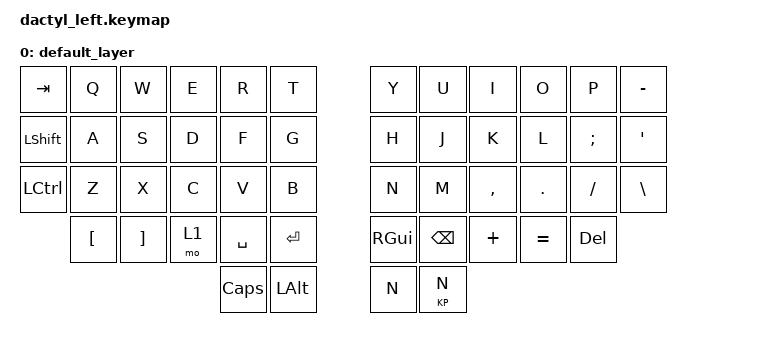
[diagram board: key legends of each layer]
#include <behaviors.dtsi>
#include <dt-bindings/zmk/keys.h>
#include <dt-bindings/zmk/bt.h>

/ {
  keymap {
    compatible = "zmk,keymap";
    default_layer {
            bindings = <
                &kp TAB   &kp Q     &kp W     &kp E  &kp R      &kp T               &kp Y     &kp U     &kp I     &kp O     &kp P    &kp MINUS
                &kp LSHFT &kp A     &kp S     &kp D  &kp F      &kp G               &kp H     &kp J     &kp K     &kp L     &kp SEMI &kp SQT
                &kp LCTRL &kp Z     &kp X     &kp C  &kp V      &kp B               &kp N     &kp M     &kp COMMA &kp DOT   &kp FSLH &kp BSLH
                          &kp LBKT  &kp RBKT  &mo 1  &kp SPACE  &kp ENTER           &kp RGUI  &kp BSPC  &kp PLUS  &kp EQUAL &kp DEL
                                                     &kp CAPS   &kp LALT           &kp N      &KP N
            >;
        };
  };
};
